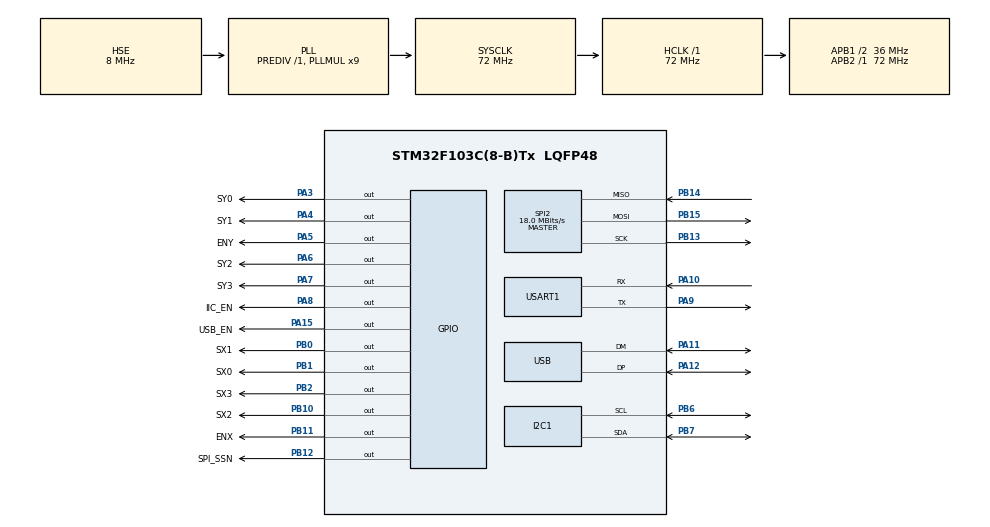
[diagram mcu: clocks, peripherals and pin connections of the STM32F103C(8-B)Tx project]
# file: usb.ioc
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Mcu.Family=STM32F1
Mcu.Name=STM32F103C(8-B)Tx
Mcu.Package=LQFP48
NVIC.PriorityGroup=NVIC_PRIORITYGROUP_4
NVIC.USB_LP_CAN1_RX0_IRQn=true\:0\:0\:false\:false\:true\:false\:true\:true
PA10.Mode=Asynchronous
PA10.Signal=USART1_RX
PA11.Mode=Device
PA11.Signal=USB_DM
PA12.Mode=Device
PA12.Signal=USB_DP
PA13.Mode=Serial_Wire
PA13.Signal=SYS_JTMS-SWDIO
PA14.Mode=Serial_Wire
PA14.Signal=SYS_JTCK-SWCLK
PA15.GPIO_Label=USB_EN
PA15.Signal=GPIO_Output
PA3.GPIO_Label=SY0
PA3.Signal=GPIO_Output
PA4.GPIO_Label=SY1
PA4.Signal=GPIO_Output
PA5.GPIO_Label=ENY
PA5.Signal=GPIO_Output
PA6.GPIO_Label=SY2
PA6.Signal=GPIO_Output
PA7.GPIO_Label=SY3
PA7.Signal=GPIO_Output
PA8.GPIO_Label=IIC_EN
PA8.Signal=GPIO_Output
PA9.Mode=Asynchronous
PA9.Signal=USART1_TX
PB0.GPIO_Label=SX1
PB0.Signal=GPIO_Output
PB1.GPIO_Label=SX0
PB1.Signal=GPIO_Output
PB10.GPIO_Label=SX2
PB10.Signal=GPIO_Output
PB11.GPIO_Label=ENX
PB11.Signal=GPIO_Output
PB12.GPIO_Label=SPI_SSN
PB12.Signal=GPIO_Output
PB13.Mode=Full_Duplex_Master
PB13.Signal=SPI2_SCK
PB14.Mode=Full_Duplex_Master
PB14.Signal=SPI2_MISO
PB15.Mode=Full_Duplex_Master
PB15.Signal=SPI2_MOSI
PB2.GPIO_Label=SX3
PB2.Signal=GPIO_Output
PB6.Mode=I2C
PB6.Signal=I2C1_SCL
PB7.Mode=I2C
PB7.Signal=I2C1_SDA
PD0-OSC_IN.Mode=HSE-External-Oscillator
PD0-OSC_IN.Signal=RCC_OSC_IN
PD1-OSC_OUT.Mode=HSE-External-Oscillator
PD1-OSC_OUT.Signal=RCC_OSC_OUT
ProjectManager.HeapSize=0x200
ProjectManager.StackSize=0x1000
ProjectManager.TargetToolchain=MDK-ARM V5
RCC.AHBFreq_Value=72000000
RCC.APB1CLKDivider=RCC_HCLK_DIV2
RCC.APB1Freq_Value=36000000
RCC.APB1TimFreq_Value=72000000
RCC.APB2Freq_Value=72000000
RCC.APB2TimFreq_Value=72000000
RCC.HCLKFreq_Value=72000000
RCC.PLLMUL=RCC_PLL_MUL9
RCC.SYSCLKFreq_VALUE=72000000
RCC.SYSCLKSource=RCC_SYSCLKSOURCE_PLLCLK
RCC.USBFreq_Value=48000000
RCC.USBPrescaler=RCC_USBCLKSOURCE_PLL_DIV1_5
SPI2.CLKPhase=SPI_PHASE_2EDGE
SPI2.CalculateBaudRate=18.0 MBits/s
SPI2.Direction=SPI_DIRECTION_2LINES
SPI2.Mode=SPI_MODE_MASTER
SPI2.VirtualType=VM_MASTER
TIM1.Channel-Output\ Compare1\ No\ Output=TIM_CHANNEL_1
USART1.VirtualMode=VM_ASYNC
USB_DEVICE.CLASS_NAME_FS=CDC
USB_DEVICE.VirtualMode=Cdc
USB_DEVICE.VirtualModeFS=Cdc_FS
VP_TIM1_VS_no_output1.Mode=Output Compare1 No Output
VP_USB_DEVICE_VS_USB_DEVICE_CDC_FS.Mode=CDC_FS
board=custom

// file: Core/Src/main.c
/* USER CODE BEGIN Header */
/**
  ******************************************************************************
  * @file           : main.c
  * @brief          : Main program body
  ******************************************************************************
  * @attention
  *
  * Copyright (c) 2025 STMicroelectronics.
  * All rights reserved.
  *
  * This software is licensed under terms that can be found in the LICENSE file
  * in the root directory of this software component.
  * If no LICENSE file comes with this software, it is provided AS-IS.
  *
  ******************************************************************************
  */
/* USER CODE END Header */
#include "main.h"
#include "i2c.h"
#include "spi.h"
#include "tim.h"
#include "usart.h"
#include "usb_device.h"
#include "gpio.h"

/* USER CODE BEGIN Includes */
#include "pcap04.h"
#include "cd74hc4067.h"
#include "usbd_cdc_if.h"
#include <stdio.h>  // For sprintf if needed (though USB_Printf handles formatting)
/* USER CODE END Includes */

/* USER CODE BEGIN PV */
// These variables (Value, pcap04_use_float, integrated_data) are assumed to be
// declared as 'extern' in pcap04.h and defined in pcap04.c or main.c as globals.
// If not, you might need to declare them here or ensure they are properly linked.
// Example:
// uint32_t Value[4]; // If Value is not extern from pcap04.c
// extern int pcap04_use_float; // If pcap04_use_float is extern from pcap04.c
// extern float integrated_data(uint32_t raw_value); // If integrated_data is extern from pcap04.c
/* USER CODE END PV */

void SystemClock_Config(void);
/* USER CODE BEGIN PFP */
// DWT delay function prototypes (should also be in main.h)
void DWT_Delay_Init(void);
void DWT_Delay_us(uint32_t us);
/* USER CODE END PFP */

/* USER CODE BEGIN 0 */

/**
  * @brief Initializes the DWT Cycle Counter for microsecond delays.
  *        Must be called once before using DWT_Delay_us.
  *        Note: This implementation is common for STM32F1xx (Cortex-M3).
  *        The DWT->LAR register is not typically present or required to be unlocked
  *        for DWT access on these cores, hence its removal from the original suggestion.
  */
void DWT_Delay_Init(void) {
    /* Enable TRC (Trace Enable) in DEMCR */
    CoreDebug->DEMCR |= CoreDebug_DEMCR_TRCENA_Msk;

    /* Reset DWT cycle counter */
    DWT->CYCCNT = 0;

    /* Enable DWT cycle counter */
    DWT->CTRL |= DWT_CTRL_CYCCNTENA_Msk;
}

/**
  * @brief Provides a microsecond delay using the DWT Cycle Counter.
  * @param us: Number of microseconds to delay.
  *        The accuracy depends on SystemCoreClock being correctly set.
  */
void DWT_Delay_us(uint32_t us) {
    uint32_t startTick = DWT->CYCCNT;
    // Calculate ticks for desired us delay. SystemCoreClock is in Hz.
    // Ticks per us = SystemCoreClock / 1,000,000
    // For example, if SystemCoreClock is 72MHz, then 72 ticks per microsecond.
    uint32_t delayTicks = us * (SystemCoreClock / 1000000);
    while ((DWT->CYCCNT - startTick) < delayTicks);
}

/* USER CODE END 0 */

int main(void)
{

  /* MCU Configuration--------------------------------------------------------*/

  /* Reset of all peripherals, Initializes the Flash interface and the Systick. */
  HAL_Init();

  /* Configure the system clock */
  SystemClock_Config();

  /* USER CODE BEGIN SysInit */
  DWT_Delay_Init(); // Initialize DWT for microsecond delays
  /* USER CODE END SysInit */

  /* Initialize all configured peripherals */
  MX_GPIO_Init();
  HAL_GPIO_WritePin(IIC_EN_GPIO_Port, IIC_EN_Pin, GPIO_PIN_RESET);
  MX_USB_DEVICE_Init();
  MX_I2C1_Init();
  MX_SPI2_Init();
  MX_USART1_UART_Init();
  MX_TIM1_Init();
  /* USER CODE BEGIN 2 */

	// Initialize CD74HC4067 multiplexer
	MUX_Init();

	// Wait for USB enumeration to complete (longer delay to allow Windows to detect)
	HAL_Delay(2000);

	// After enumeration, pull USB_EN low as requested
	HAL_GPIO_WritePin(USB_EN_GPIO_Port, USB_EN_Pin, GPIO_PIN_RESET);

	// Delay printf calls until USB is enumerated
	// Note: printf uses USB CDC which needs to be enumerated first

	if(PCap04_Test() != 1)
	{
		// Don't use printf here - USB may not be ready yet
		// You might want to blink an LED or use a UART for debug if USB fails
	}

	PCap04_Init_Tow();

	// Configure PCAP04 for mutual capacitance mode
	// PC0/PC1: Reference capacitance
	// PC2/PC3: Measurement capacitance
	// PC4/PC5: Disabled
//	PCap04_SetMutualCapacitanceMode(); // RESTORED: This line is crucial for PCAP04.
	HAL_Delay(50); // Small delay after configuration

	// Set float conversion flag (1=enabled, 0=disabled)
	PCap04_SetFloatConversion(1);  // Enable float conversion

	// Wait additional time for USB to be fully ready
	HAL_Delay(500);

	// Now it's safe to use USB_Printf after USB enumeration
	USB_Printf("=== Initializing PCAP04 and Multiplexer ===\r\n");
	MUX_PrintStatus(); // Show initial mux status
	USB_Printf("\n=== Starting PCAP04 measurement with multiplexer ===\r\n");

  /* USER CODE END 2 */
MUX_EnableBoth();
  /* Infinite loop */
  while (1)
  {

    /* USER CODE BEGIN 3 */

		USB_Printf("\n--- Starting 16x16 Matrix Scan (PC1 values) ---\r\n");

		int x, y;
		for (y = 0; y < 16; y++) // Iterate through Y-channels (rows)
		{
			for (x = 0; x < 16; x++) // Iterate through X-channels (columns)
			{
				// Select the current X and Y channels on the multiplexer
				MUX_SelectXY(x, y);

				// Short delay for multiplexer settling and PCAP04 to stabilize after channel switch
				// 2000 us (2 ms) is used here for stability. Adjust if needed.
				DWT_Delay_us(1000);
			//
DWT_Delay_us(100);
				// Read PCAP04 data for all 4 channels
				// Assuming PCAP04_Read_CDC_Result_data triggers a conversion and returns the result.
				// We read all 4, but only print PC1 as requested.
//				Value[0] = PCAP04_Read_CDC_Result_data(0);
				Value[1] = PCAP04_Read_CDC_Result_data(1);
//				Value[2] = PCAP04_Read_CDC_Result_data(2);
//				Value[3] = PCAP04_Read_CDC_Result_data(3);
			//	MUX_DisableBoth();
				// Print only the PC1 measurement for the current (x, y) point
				if(pcap04_use_float)
				{
					// Display as floating point values (pF)
					USB_Printf("%.2f ", integrated_data(Value[1])); // Print PC1 value with a space
				}
				else
				{
					// Display as raw hex values
					USB_Printf("0x%08X ", Value[1]); // Print PC1 raw value with a space
				}

				// No DWT_Delay_us(100) here, to make the row print faster.
			}
			// After each row (16 columns) is printed, add a newline.
			USB_Printf("\r\n");
			// Add a small delay after printing a full row, to allow USB buffer to clear.

		}

		// After the 16x16 scan is complete
		USB_Printf("\n--- 16x16 Matrix Scan Complete (test) ---\r\n");

		// Long delay before starting the next full scan cycle
		HAL_Delay(2000); // Wait 5 seconds before repeating the entire scan (RESTORED)
	if(PCap04_Test() != 1)
	{
		USB_Printf("\n--- 1e232323---\r\n");
	}

  }
  /* USER CODE END 3 */
}

void SystemClock_Config(void)
{
  RCC_OscInitTypeDef RCC_OscInitStruct = {0};
  RCC_ClkInitTypeDef RCC_ClkInitStruct = {0};
  RCC_PeriphCLKInitTypeDef PeriphClkInit = {0};

  /** Initializes the RCC Oscillators according to the specified parameters
  * in the RCC_OscInitTypeDef structure.
  */
  RCC_OscInitStruct.OscillatorType = RCC_OSCILLATORTYPE_HSE;
  RCC_OscInitStruct.HSEState = RCC_HSE_ON;
  RCC_OscInitStruct.HSEPredivValue = RCC_HSE_PREDIV_DIV1;
  RCC_OscInitStruct.HSIState = RCC_HSI_ON;
  RCC_OscInitStruct.PLL.PLLState = RCC_PLL_ON;
  RCC_OscInitStruct.PLL.PLLSource = RCC_PLLSOURCE_HSE;
  RCC_OscInitStruct.PLL.PLLMUL = RCC_PLL_MUL9; // PLL output 72MHz (8MHz HSE * 9)
  if (HAL_RCC_OscConfig(&RCC_OscInitStruct) != HAL_OK)
  {
    Error_Handler();
  }

  /** Initializes the CPU, AHB and APB buses clocks
  */
  RCC_ClkInitStruct.ClockType = RCC_CLOCKTYPE_HCLK|RCC_CLOCKTYPE_SYSCLK
                              |RCC_CLOCKTYPE_PCLK1|RCC_CLOCKTYPE_PCLK2;
  RCC_ClkInitStruct.SYSCLKSource = RCC_SYSCLKSOURCE_PLLCLK; // System clock from PLL (72MHz)
  RCC_ClkInitStruct.AHBCLKDivider = RCC_SYSCLK_DIV1; // HCLK = 72MHz
  RCC_ClkInitStruct.APB1CLKDivider = RCC_HCLK_DIV2; // APB1 = 36MHz
  RCC_ClkInitStruct.APB2CLKDivider = RCC_HCLK_DIV1; // APB2 = 72MHz

  if (HAL_RCC_ClockConfig(&RCC_ClkInitStruct, FLASH_LATENCY_2) != HAL_OK)
  {
    Error_Handler();
  }
  PeriphClkInit.PeriphClockSelection = RCC_PERIPHCLK_USB;
  PeriphClkInit.UsbClockSelection = RCC_USBCLKSOURCE_PLL_DIV1_5; // USB clock = 72MHz / 1.5 = 48MHz
  if (HAL_RCCEx_PeriphCLKConfig(&PeriphClkInit) != HAL_OK)
  {
    Error_Handler();
  }
}

void Error_Handler(void)
{
  __disable_irq();
  while (1)
  {
  }
}
